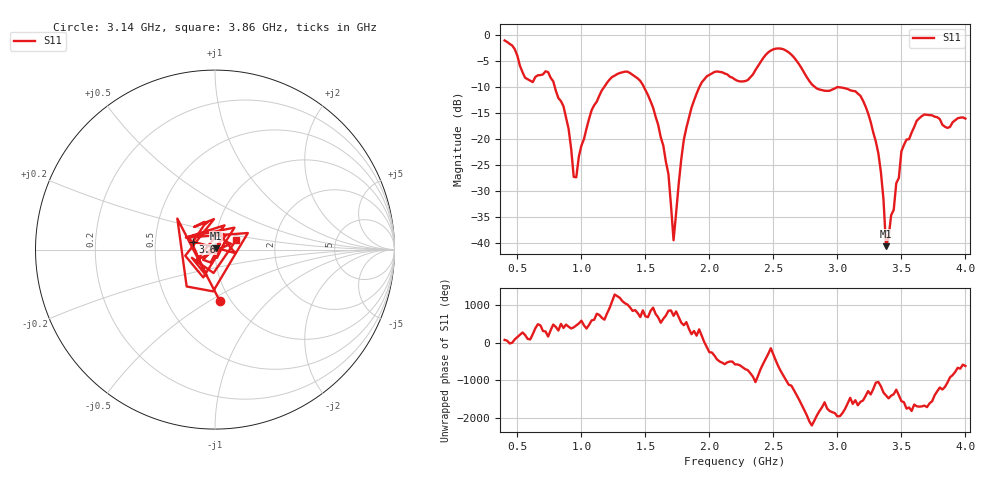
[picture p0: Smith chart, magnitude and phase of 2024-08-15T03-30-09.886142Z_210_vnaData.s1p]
!Created with skrf (http://scikit-rf.org).
# Hz S RI R 50.0
!freq ReS11 ImS11
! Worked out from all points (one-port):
!   181 points, 400 MHz to 4 GHz, reference 50 ohm
!   lowest |S11| = -40.7 dB at 3.38 GHz (marker M1), VSWR 1.02, Z = 50.7 + j0.641 ohm
!   |S11| at or under -10 dB: 791.8 MHz to 1.179 GHz (387.3 MHz wide, 39.3 % of centre); 1.488 GHz to 1.923 GHz (435.1 MHz wide, 25.5 % of centre); 2.823 GHz to end of sweep
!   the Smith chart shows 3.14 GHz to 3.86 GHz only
!   S11 on the Smith chart (normalised r, x): 3.14 GHz: 0.89, -0.56; 3.6 GHz: 0.78, +0.07; 3.86 GHz: 1.26, +0.13
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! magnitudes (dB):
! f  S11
! 400 MHz  -1.1
! 560 MHz  -8.3
! 740 MHz  -7.2
! 860 MHz  -13.7
! 940 MHz  -27.3
! 960 MHz  -27.4
! 1.08 GHz  -14.5
! 1.3 GHz  -7.3
! 1.56 GHz  -14.0
! 1.68 GHz  -26.8
! 1.72 GHz  -39.5
! 1.76 GHz  -28.7
! 1.82 GHz  -17.9
! 1.94 GHz  -9.1
! 2.2 GHz  -8.6
! 2.5 GHz  -2.8
! 2.66 GHz  -4.3
! 2.84 GHz  -10.3
! 3.1 GHz  -10.7
! 3.14 GHz  -10.8
! 3.32 GHz  -22.8
! 3.36 GHz  -31.6
! 3.38 GHz  -40.7
! 3.5 GHz  -22.4
! 3.56 GHz  -20.1
! 3.6 GHz  -17.7
! 3.86 GHz  -17.9
! 4 GHz  -16.1
